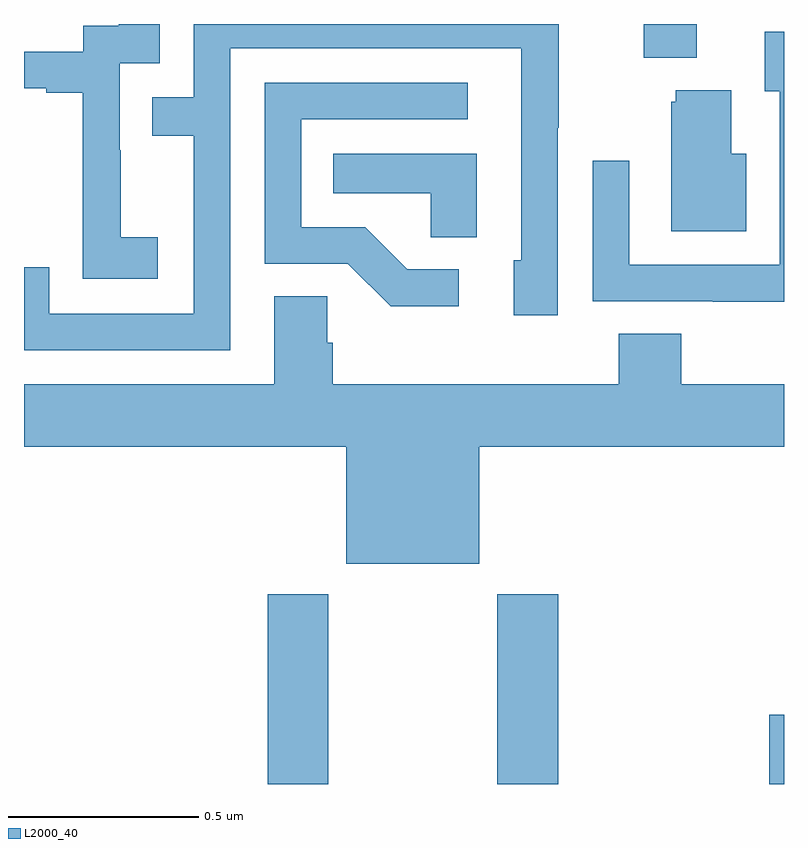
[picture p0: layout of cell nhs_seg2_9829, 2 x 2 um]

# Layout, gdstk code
import gdstk
lib = gdstk.Library(unit=1e-6, precision=1e-09)
def R(c, l, rs):  # rectangles x0, y0, x1, y1
    for r in rs: c.add(gdstk.rectangle(r[:2], r[2:], *l))
def P(c, l, *ps):  # polygons
    for p in ps: c.add(gdstk.Polygon(p, *l))
L2000_40 = (2000, 40)

nhs_seg2_9829 = lib.new_cell('nhs_seg2_9829')
R(nhs_seg2_9829, L2000_40, [(234.641,594.8,234.801,595.3), (235.246,594.8,235.406,595.3), (235.961,594.8,236,594.982), (235.631,596.711,235.771,596.8)])
P(nhs_seg2_9829, L2000_40, [(234.543,596.736),(235.308,596.736),(235.308,596.178),(235.289,596.178),(235.289,596.034),(235.404,596.034),(235.404,596.527),(235.407,596.527),(235.407,596.8),(234.447,596.8),(234.447,596.607),(234.337,596.607),(234.337,596.506),(234.447,596.506),(234.447,596.037),(234.066,596.037),(234.066,596.16),(234,596.16),(234,595.941),(234.543,595.941)],
  [(234.352,596.239),(234.254,596.239),(234.254,596.468),(234.252,596.468),(234.252,596.697),(234.357,596.697),(234.357,596.8),(234.249,596.8),(234.249,596.796),(234.156,596.796),(234.156,596.727),(234,596.727),(234,596.631),(234.059,596.631),(234.059,596.619),(234.155,596.619),(234.155,596.335),(234.154,596.335),(234.154,596.129),(234.352,596.129)],
  [(236,596.779),(235.949,596.779),(235.949,596.623),(235.989,596.623),(235.989,596.166),(235.593,596.166),(235.593,596.44),(235.497,596.44),(235.497,596.07),(235.813,596.07),(235.813,596.069),(236,596.069)],
  [(235.144,596.154),(235.009,596.154),(234.898,596.265),(234.729,596.265),(234.729,596.55),(235.168,596.55),(235.168,596.646),(234.633,596.646),(234.633,596.169),(234.852,596.169),(234.965,596.057),(235.144,596.057)],
  [(235.9,596.458),(235.861,596.458),(235.861,596.626),(235.715,596.626),(235.715,596.595),(235.703,596.595),(235.703,596.255),(235.9,596.255)],
  [(235.192,596.458),(234.814,596.458),(234.814,596.354),(235.071,596.354),(235.071,596.239),(235.192,596.239)],
  [(235.198,595.688),(236,595.688),(236,595.852),(235.73,595.852),(235.73,595.985),(235.565,595.985),(235.565,595.852),(234.812,595.852),(234.812,595.961),(234.798,595.961),(234.798,596.084),(234.659,596.084),(234.659,595.852),(234,595.852),(234,595.688),(234.848,595.688),(234.848,595.379),(235.198,595.379)])

lib.write_gds('nhs_seg2_9829.gds')
